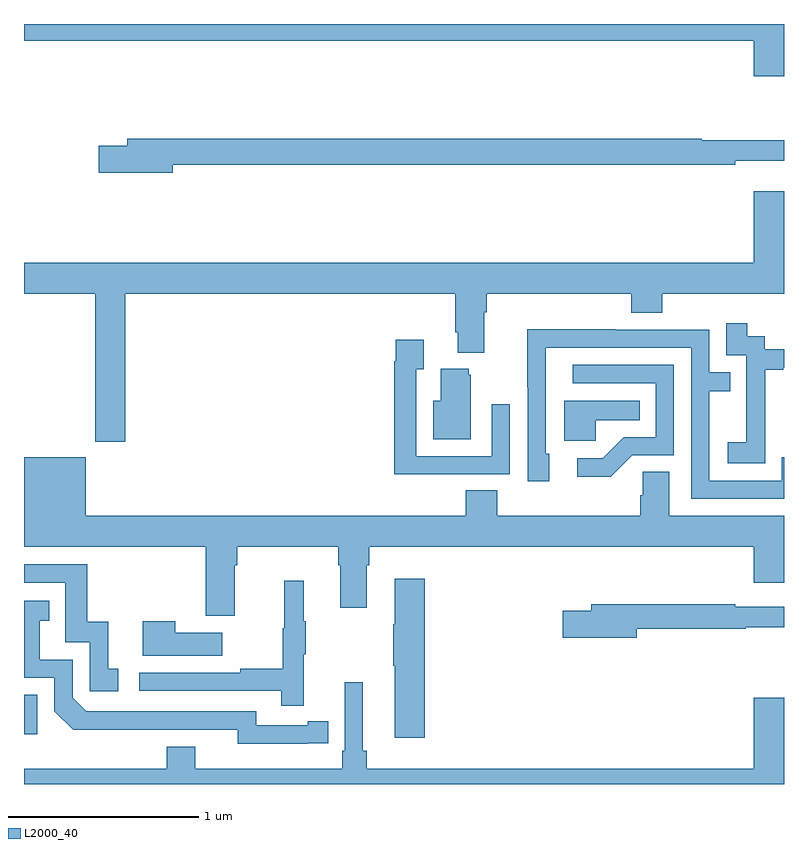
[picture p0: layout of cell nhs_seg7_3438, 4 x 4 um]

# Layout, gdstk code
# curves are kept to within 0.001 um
import gdstk
lib = gdstk.Library(unit=1e-6, precision=1e-09)
def R(c, l, rs):  # rectangles x0, y0, x1, y1
    for r in rs: c.add(gdstk.rectangle(r[:2], r[2:], *l))
def P(c, l, *ps):  # polygons
    for p in ps: c.add(gdstk.Polygon(p, *l))
L2000_40 = (2000, 40)

nhs_seg7_3438 = lib.new_cell('nhs_seg7_3438')
R(nhs_seg7_3438, L2000_40, [(329,1034.262,329.07,1034.469)])
P(nhs_seg7_3438, L2000_40, [(333,1038),(329,1038),(329,1037.912),(332.84,1037.912),(332.84,1037.724),(333,1037.724)],
  [(329.782,1037.26),(332.744,1037.26),(332.744,1037.279),(333,1037.279),(333,1037.389),(332.566,1037.389),(332.566,1037.396),(329.543,1037.396),(329.543,1037.36),(329.394,1037.36),(329.394,1037.218),(329.782,1037.218)],
  [(329.534,1036.58),(331.271,1036.58),(331.271,1036.378),(331.283,1036.378),(331.283,1036.271),(331.423,1036.271),(331.423,1036.484),(331.436,1036.484),(331.436,1036.58),(332.195,1036.58),(332.195,1036.481),(332.36,1036.481),(332.36,1036.58),(333,1036.58),(333,1037.119),(332.84,1037.119),(332.84,1036.744),(329,1036.744),(329,1036.58),(329.374,1036.58),(329.374,1035.801),(329.534,1035.801)],
  [(332.901,1035.895),(332.9,1035.895),(332.9,1036.179),(332.995,1036.179),(332.995,1036.191),(333,1036.191),(333,1036.287),(332.898,1036.287),(332.898,1036.356),(332.806,1036.356),(332.806,1036.426),(332.697,1036.426),(332.697,1036.257),(332.802,1036.257),(332.802,1036.028),(332.801,1036.028),(332.801,1035.799),(332.703,1035.799),(332.703,1035.689),(332.901,1035.689)],
  [(333,1035.72),(332.988,1035.72),(332.988,1035.597),(332.607,1035.597),(332.607,1036.066),(332.717,1036.066),(332.717,1036.167),(332.607,1036.167),(332.607,1036.392),(332.111,1036.392),(332.111,1036.394),(331.648,1036.394),(331.648,1036.087),(331.65,1036.087),(331.65,1035.594),(331.765,1035.594),(331.765,1035.738),(331.746,1035.738),(331.746,1036.06),(331.747,1036.06),(331.747,1036.296),(332.511,1036.296),(332.511,1035.501),(333,1035.501)],
  [(331.241,1035.63),(331.557,1035.63),(331.557,1036),(331.461,1036),(331.461,1035.726),(331.065,1035.726),(331.065,1036.183),(331.105,1036.183),(331.105,1036.339),(330.957,1036.339),(330.957,1036.226),(330.949,1036.226),(330.949,1035.629),(331.241,1035.629)],
  [(332.202,1035.729),(332.421,1035.729),(332.421,1036.206),(331.887,1036.206),(331.887,1036.11),(332.325,1036.11),(332.325,1035.825),(332.156,1035.825),(332.045,1035.714),(331.911,1035.714),(331.911,1035.617),(332.089,1035.617)],
  [(331.351,1036.155),(331.34,1036.155),(331.34,1036.186),(331.193,1036.186),(331.193,1036.018),(331.154,1036.018),(331.154,1035.815),(331.351,1035.815)],
  [(332.01,1035.914),(332.24,1035.914),(332.24,1036.018),(331.844,1036.018),(331.844,1035.806),(332.01,1035.806)],
  [(330.109,1035.152),(330.122,1035.152),(330.122,1035.248),(330.653,1035.248),(330.653,1035.152),(330.665,1035.152),(330.665,1034.928),(330.805,1034.928),(330.805,1035.152),(330.818,1035.152),(330.818,1035.248),(332.84,1035.248),(332.84,1035.06),(333,1035.06),(333,1035.412),(332.395,1035.412),(332.395,1035.644),(332.256,1035.644),(332.256,1035.521),(332.243,1035.521),(332.243,1035.412),(331.49,1035.412),(331.49,1035.545),(331.325,1035.545),(331.325,1035.412),(329.326,1035.412),(329.326,1035.721),(329,1035.721),(329,1035.248),(329.957,1035.248),(329.957,1034.886),(330.109,1034.886)],
  [(329.497,1034.607),(329.444,1034.607),(329.444,1034.853),(329.333,1034.853),(329.333,1035.156),(329,1035.156),(329,1035.06),(329.217,1035.06),(329.217,1034.745),(329.346,1034.745),(329.346,1034.487),(329.497,1034.487)],
  [(331.109,1035.079),(330.95,1035.079),(330.95,1034.84),(330.943,1034.84),(330.943,1034.623),(330.95,1034.623),(330.95,1034.244),(331.109,1034.244)],
  [(330.473,1034.683),(330.484,1034.683),(330.484,1034.857),(330.473,1034.857),(330.473,1035.07),(330.37,1035.07),(330.37,1034.82),(330.363,1034.82),(330.363,1034.606),(330.139,1034.606),(330.139,1034.586),(329.607,1034.586),(329.607,1034.49),(330.355,1034.49),(330.355,1034.412),(330.473,1034.412)],
  [(330.494,1034.214),(330.602,1034.214),(330.602,1034.33),(330.494,1034.33),(330.494,1034.31),(330.222,1034.31),(330.222,1034.382),(329.328,1034.382),(329.256,1034.454),(329.256,1034.655),(329.083,1034.655),(329.083,1034.859),(329.132,1034.859),(329.132,1034.965),(329,1034.965),(329,1034.559),(329.16,1034.559),(329.16,1034.382),(329.258,1034.285),(330.126,1034.286),(330.126,1034.213)],
  [(332.224,1034.818),(332.798,1034.818),(332.798,1034.826),(333,1034.826),(333,1034.934),(332.744,1034.934),(332.744,1034.947),(331.985,1034.947),(331.985,1034.913),(331.836,1034.913),(331.836,1034.771),(332.224,1034.771)],
  [(330.043,1034.797),(329.795,1034.797),(329.795,1034.857),(329.624,1034.857),(329.624,1034.675),(330.043,1034.675)],
  [(333,1034.455),(332.84,1034.455),(332.84,1034.08),(330.803,1034.08),(330.803,1034.176),(330.784,1034.176),(330.784,1034.536),(330.687,1034.536),(330.687,1034.176),(330.674,1034.176),(330.674,1034.08),(329.902,1034.08),(329.902,1034.197),(329.75,1034.197),(329.75,1034.08),(329,1034.08),(329,1034),(333,1034)])

lib.write_gds('nhs_seg7_3438.gds')
